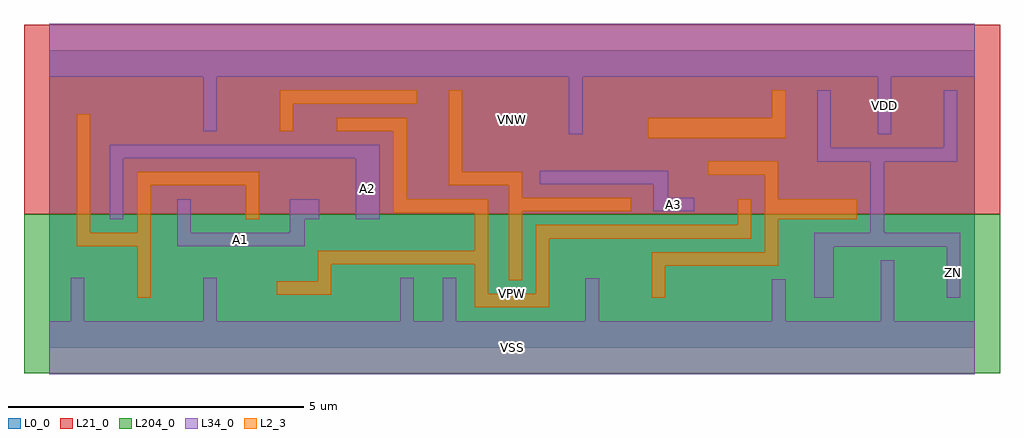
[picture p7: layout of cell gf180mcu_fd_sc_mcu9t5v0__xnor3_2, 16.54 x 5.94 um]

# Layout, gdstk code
import gdstk
lib = gdstk.Library(unit=1e-6, precision=1e-09)
def R(c, l, rs):  # rectangles x0, y0, x1, y1
    for r in rs: c.add(gdstk.rectangle(r[:2], r[2:], *l))
L0_0 = (0, 0)
L2_3 = (2, 3)
L21_0 = (21, 0)
L34_0 = (34, 0)
L204_0 = (204, 0)

gf180mcu_fd_sc_mcu9t5v0_ = lib.new_cell('gf180mcu_fd_sc_mcu9t5v0__xnor3_2')
R(gf180mcu_fd_sc_mcu9t5v0_, L0_0, [(0,0,15.68,5.04)])
R(gf180mcu_fd_sc_mcu9t5v0_, L2_3, [(7.205,0.685,8.475,0.915), (1.485,0.845,1.715,1.72), (10.205,0.845,10.435,1.39), (3.85,0.9,4.78,1.13), (7.205,0.915,7.435,1.415), (8.245,0.915,8.475,1.85), (4.55,1.13,4.78,1.415), (7.785,1.145,8.015,2.31), (10.205,1.39,12.355,1.62), (4.55,1.415,7.435,1.645), (12.125,1.62,12.355,2.18), (7.205,1.645,7.435,2.29), (0.465,1.72,1.715,1.95), (8.245,1.85,11.895,2.08), (0.465,1.95,0.695,3.955), (1.485,1.95,1.715,2.75), (11.665,2.08,11.895,2.52), (3.325,2.18,3.555,2.75), (12.125,2.18,13.685,2.52), (5.825,2.29,7.435,2.52), (7.785,2.31,9.86,2.54), (5.825,2.52,6.055,3.67), (12.125,2.52,12.355,2.93), (7.785,2.54,8.015,2.75), (1.485,2.75,3.555,2.98), (6.765,2.75,8.015,2.98), (11.17,2.93,12.355,3.16), (6.765,2.98,6.995,4.36), (10.15,3.55,12.475,3.9), (3.905,3.67,4.135,4.13), (4.87,3.67,6.055,3.9), (12.245,3.9,12.475,4.36), (3.905,4.13,6.23,4.36)])
R(gf180mcu_fd_sc_mcu9t5v0_, L21_0, [(-0.43,2.265,16.11,5.47)])
R(gf180mcu_fd_sc_mcu9t5v0_, L34_0, [(0,-0.45,15.68,0.45), (0.365,0.45,0.595,1.185), (2.605,0.45,2.835,1.185), (5.945,0.45,6.175,1.185), (6.665,0.45,6.895,1.185), (9.085,0.45,9.315,1.18), (12.245,0.45,12.475,1.16), (14.085,0.45,14.315,1.485), (12.965,0.845,13.29,1.715), (15.205,0.845,15.435,1.715), (12.965,1.715,15.435,1.945), (2.165,1.72,4.33,1.95), (13.915,1.945,14.145,3.155), (2.165,1.95,2.395,2.52), (4.07,1.95,4.33,2.18), (1.025,2.18,1.255,3.21), (4.07,2.18,4.575,2.52), (5.19,2.18,5.595,3.21), (10.23,2.31,10.93,2.54), (10.23,2.54,10.49,2.77), (8.31,2.77,10.49,3), (13.015,3.155,15.385,3.385), (1.025,3.21,5.595,3.44), (13.015,3.385,13.245,4.36), (15.155,3.385,15.385,4.36), (8.805,3.615,9.035,4.59), (14.035,3.615,14.265,4.59), (2.605,3.67,2.835,4.59), (0,4.59,15.68,5.49)])
R(gf180mcu_fd_sc_mcu9t5v0_, L204_0, [(-0.43,-0.43,16.11,2.265)])
gf180mcu_fd_sc_mcu9t5v0_.add(gdstk.Label('A1', (3.247,1.835), layer=34, texttype=10))
gf180mcu_fd_sc_mcu9t5v0_.add(gdstk.Label('A2', (5.392,2.695), layer=34, texttype=10))
gf180mcu_fd_sc_mcu9t5v0_.add(gdstk.Label('A3', (10.58,2.425), layer=34, texttype=10))
gf180mcu_fd_sc_mcu9t5v0_.add(gdstk.Label('ZN', (15.32,1.28), layer=34, texttype=10))
gf180mcu_fd_sc_mcu9t5v0_.add(gdstk.Label('VDD', (14.15,4.102), layer=34, texttype=10))
gf180mcu_fd_sc_mcu9t5v0_.add(gdstk.Label('VSS', (7.84,0), layer=34, texttype=10))
gf180mcu_fd_sc_mcu9t5v0_.add(gdstk.Label('VNW', (7.84,3.867), layer=3, texttype=1))
gf180mcu_fd_sc_mcu9t5v0_.add(gdstk.Label('VPW', (7.84,0.917), layer=4, texttype=1))

lib.write_gds('gf180mcu_fd_sc_mcu9t5v0__xnor3_2.gds')
